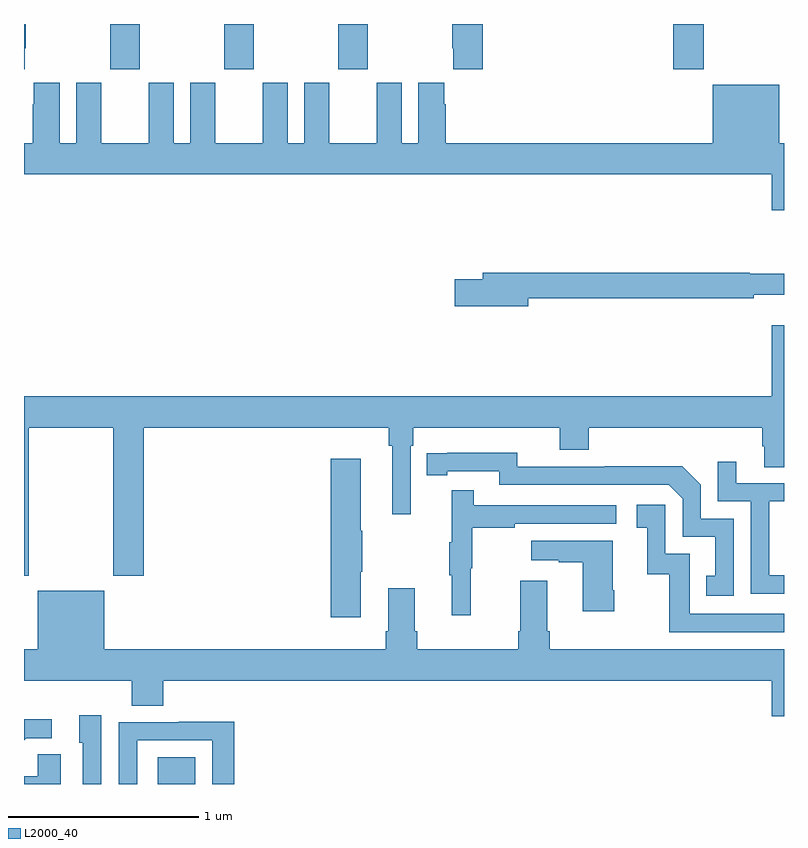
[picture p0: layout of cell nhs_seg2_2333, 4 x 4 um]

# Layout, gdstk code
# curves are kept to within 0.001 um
import gdstk
lib = gdstk.Library(unit=1e-6, precision=1e-09)
def R(c, l, rs):  # rectangles x0, y0, x1, y1
    for r in rs: c.add(gdstk.rectangle(r[:2], r[2:], *l))
def A(c, l, x, y, w, h, nx, ny, dx, dy):  # array of equal rectangles
    R(c, l, [(x+i*dx, y+j*dy, x+i*dx+w, y+j*dy+h) for i in range(nx) for j in range(ny)])
def P(c, l, *ps):  # polygons
    for p in ps: c.add(gdstk.Polygon(p, *l))
L2000_40 = (2000, 40)

nhs_seg2_2333 = lib.new_cell('nhs_seg2_2333')
A(nhs_seg2_2333, L2000_40, 233.455, 609.561, 0.155, 0.239, 3, 1, 0.6, 0)
R(nhs_seg2_2333, L2000_40, [(233.705,605.8,233.902,605.941), (236.417,609.561,236.577,609.8)])
P(nhs_seg2_2333, L2000_40, [(235.415,609.8),(235.255,609.8),(235.255,609.673),(235.259,609.673),(235.259,609.561),(235.415,609.561)],
  [(233.005,609.673),(233.01,609.673),(233.01,609.8),(233,609.8),(233,609.561),(233.005,609.561)],
  [(236.624,609.172),(235.22,609.172),(235.22,609.377),(235.213,609.377),(235.213,609.49),(235.076,609.49),(235.076,609.172),(234.988,609.172),(234.988,609.49),(234.857,609.49),(234.857,609.172),(234.607,609.172),(234.607,609.49),(234.476,609.49),(234.476,609.172),(234.388,609.172),(234.388,609.49),(234.257,609.49),(234.257,609.172),(234.007,609.172),(234.007,609.49),(233.876,609.49),(233.876,609.172),(233.788,609.172),(233.788,609.49),(233.657,609.49),(233.657,609.172),(233.407,609.172),(233.407,609.49),(233.276,609.49),(233.276,609.172),(233.188,609.172),(233.188,609.49),(233.051,609.49),(233.051,609.377),(233.045,609.377),(233.045,609.172),(233,609.172),(233,609.008),(236.936,609.008),(236.936,608.82),(237,608.82),(237,609.172),(236.974,609.172),(236.974,609.481),(236.624,609.481)],
  [(235.654,608.356),(236.84,608.356),(236.84,608.375),(237,608.375),(237,608.485),(236.819,608.485),(236.819,608.492),(235.415,608.492),(235.415,608.456),(235.266,608.456),(235.266,608.314),(235.654,608.314)],
  [(233.025,607.676),(233.47,607.676),(233.47,606.897),(233.63,606.897),(233.63,607.676),(234.919,607.676),(234.919,607.58),(234.938,607.58),(234.938,607.221),(235.035,607.221),(235.035,607.58),(235.049,607.58),(235.049,607.676),(235.82,607.676),(235.82,607.559),(235.973,607.559),(235.973,607.676),(236.885,607.676),(236.885,607.578),(236.897,607.578),(236.897,607.468),(237,607.468),(237,608.215),(236.936,608.215),(236.936,607.84),(233,607.84),(233,606.897),(233.025,606.897)],
  [(236.736,607.197),(236.562,607.197),(236.562,607.374),(236.464,607.472),(236.056,607.472),(236.056,607.47),(235.596,607.47),(235.596,607.543),(235.12,607.542),(235.12,607.426),(235.228,607.426),(235.228,607.446),(235.5,607.446),(235.5,607.374),(236.394,607.374),(236.466,607.302),(236.466,607.101),(236.639,607.101),(236.639,606.897),(236.59,606.897),(236.59,606.792),(236.736,606.792)],
  [(234.772,606.916),(234.78,606.916),(234.78,607.133),(234.772,607.133),(234.772,607.513),(234.614,607.513),(234.614,606.678),(234.772,606.678)],
  [(237,606.898),(236.922,606.898),(236.922,607.287),(237,607.287),(237,607.383),(236.749,607.383),(236.749,607.495),(236.652,607.495),(236.652,607.287),(236.826,607.287),(236.826,606.801),(237,606.801)],
  [(235.352,606.936),(235.36,606.936),(235.36,607.15),(235.583,607.15),(235.583,607.17),(236.116,607.17),(236.116,607.266),(235.367,607.266),(235.367,607.345),(235.25,607.345),(235.25,607.073),(235.239,607.073),(235.239,606.899),(235.25,606.899),(235.25,606.687),(235.352,606.687)],
  [(237,606.696),(236.505,606.696),(236.505,607.011),(236.376,607.011),(236.376,607.27),(236.226,607.27),(236.226,607.149),(236.279,607.149),(236.279,606.903),(236.397,606.903),(236.397,606.6),(237,606.6)],
  [(236.106,606.82),(236.098,606.82),(236.098,607.081),(235.671,607.081),(235.671,606.977),(235.814,606.977),(235.814,606.967),(235.94,606.967),(235.94,606.708),(236.106,606.708)],
  [(236.936,606.156),(237,606.156),(237,606.508),(235.766,606.508),(235.766,606.604),(235.753,606.604),(235.753,606.871),(235.613,606.871),(235.613,606.604),(235.601,606.604),(235.601,606.508),(235.07,606.508),(235.07,606.604),(235.057,606.604),(235.057,606.829),(234.917,606.829),(234.917,606.604),(234.905,606.604),(234.905,606.508),(233.422,606.508),(233.422,606.817),(233.072,606.817),(233.072,606.508),(233,606.508),(233,606.344),(233.567,606.344),(233.567,606.211),(233.732,606.211),(233.732,606.344),(236.936,606.344)],
  [(233.406,606.163),(233.291,606.163),(233.291,606.018),(233.31,606.018),(233.31,605.8),(233.406,605.8)],
  [(233.011,606.042),(233.146,606.042),(233.146,606.14),(233,606.14),(233,606.031)],
  [(233.595,606.03),(233.991,606.03),(233.991,605.8),(234.107,605.8),(234.107,606.128),(233.815,606.128),(233.815,606.126),(233.499,606.126),(233.499,605.8),(233.595,605.8)],
  [(233.194,605.957),(233.073,605.957),(233.073,605.842),(233,605.842),(233,605.8),(233.194,605.8)])

lib.write_gds('nhs_seg2_2333.gds')
